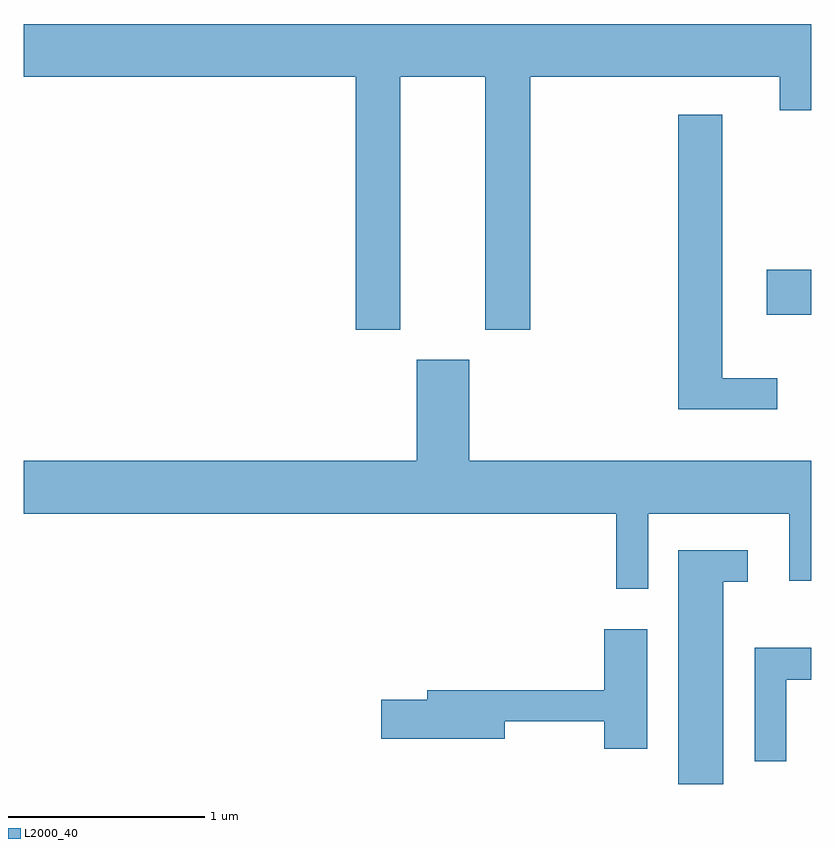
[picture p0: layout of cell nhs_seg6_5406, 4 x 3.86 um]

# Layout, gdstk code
import gdstk
lib = gdstk.Library(unit=1e-6, precision=1e-09)
def R(c, l, rs):  # rectangles x0, y0, x1, y1
    for r in rs: c.add(gdstk.rectangle(r[:2], r[2:], *l))
def P(c, l, *ps):  # polygons
    for p in ps: c.add(gdstk.Polygon(p, *l))
L2000_40 = (2000, 40)

nhs_seg6_5406 = lib.new_cell('nhs_seg6_5406')
R(nhs_seg6_5406, L2000_40, [(353.386,1606.546,353.611,1606.774)])
P(nhs_seg6_5406, L2000_40, [(351.524,1607.756),(351.956,1607.756),(351.956,1606.471),(352.184,1606.471),(352.184,1607.756),(353.451,1607.756),(353.451,1607.586),(353.611,1607.586),(353.611,1608.024),(349.611,1608.024),(349.611,1607.756),(351.296,1607.756),(351.296,1606.471),(351.524,1606.471)],
  [(353.438,1606.224),(353.159,1606.224),(353.159,1607.564),(352.936,1607.564),(352.936,1606.066),(353.438,1606.066)],
  [(352.784,1605.536),(353.501,1605.536),(353.501,1605.196),(353.611,1605.196),(353.611,1605.804),(351.874,1605.804),(351.874,1606.319),(351.606,1606.319),(351.606,1605.804),(349.611,1605.804),(349.611,1605.536),(352.621,1605.536),(352.621,1605.153),(352.784,1605.153)],
  [(353.164,1605.191),(353.288,1605.191),(353.288,1605.349),(352.936,1605.349),(352.936,1604.162),(353.164,1604.162)],
  [(352.779,1604.949),(352.561,1604.949),(352.561,1604.639),(351.661,1604.639),(351.661,1604.589),(351.426,1604.589),(351.426,1604.391),(352.054,1604.391),(352.054,1604.481),(352.561,1604.481),(352.561,1604.341),(352.779,1604.341)],
  [(353.484,1604.691),(353.611,1604.691),(353.611,1604.854),(353.326,1604.854),(353.326,1604.278),(353.484,1604.278)])

lib.write_gds('nhs_seg6_5406.gds')
